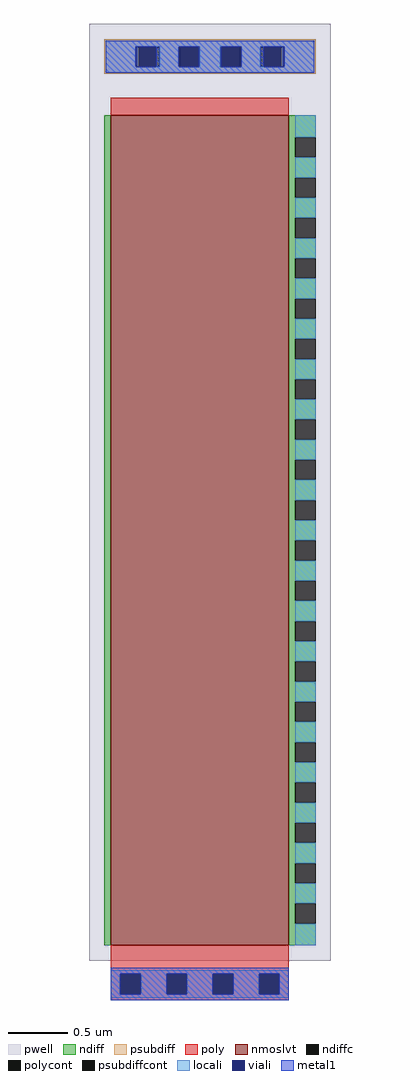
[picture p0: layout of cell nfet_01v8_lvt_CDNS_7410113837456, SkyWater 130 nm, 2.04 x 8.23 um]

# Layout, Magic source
magic
tech sky130A
magscale 1 2
<< pwell >>
rect -37 -26 371 1554
<< nmoslvt >>
rect 0 0 300 1400
<< ndiff >>
rect -11 0 0 1400
rect 300 1363 345 1400
rect 300 1329 311 1363
rect 300 1295 345 1329
rect 300 1261 311 1295
rect 300 1227 345 1261
rect 300 1193 311 1227
rect 300 1159 345 1193
rect 300 1125 311 1159
rect 300 1091 345 1125
rect 300 1057 311 1091
rect 300 1023 345 1057
rect 300 989 311 1023
rect 300 955 345 989
rect 300 921 311 955
rect 300 887 345 921
rect 300 853 311 887
rect 300 819 345 853
rect 300 785 311 819
rect 300 751 345 785
rect 300 717 311 751
rect 300 683 345 717
rect 300 649 311 683
rect 300 615 345 649
rect 300 581 311 615
rect 300 547 345 581
rect 300 513 311 547
rect 300 479 345 513
rect 300 445 311 479
rect 300 411 345 445
rect 300 377 311 411
rect 300 343 345 377
rect 300 309 311 343
rect 300 275 345 309
rect 300 241 311 275
rect 300 207 345 241
rect 300 173 311 207
rect 300 139 345 173
rect 300 105 311 139
rect 300 71 345 105
rect 300 37 311 71
rect 300 0 345 37
<< ndiffc >>
rect 311 1329 345 1363
rect 311 1261 345 1295
rect 311 1193 345 1227
rect 311 1125 345 1159
rect 311 1057 345 1091
rect 311 989 345 1023
rect 311 921 345 955
rect 311 853 345 887
rect 311 785 345 819
rect 311 717 345 751
rect 311 649 345 683
rect 311 581 345 615
rect 311 513 345 547
rect 311 445 345 479
rect 311 377 345 411
rect 311 309 345 343
rect 311 241 345 275
rect 311 173 345 207
rect 311 105 345 139
rect 311 37 345 71
<< psubdiff >>
rect -11 1516 345 1528
rect -11 1482 48 1516
rect 82 1482 116 1516
rect 150 1482 184 1516
rect 218 1482 252 1516
rect 286 1482 345 1516
rect -11 1470 345 1482
<< psubdiffcont >>
rect 48 1482 82 1516
rect 116 1482 150 1516
rect 184 1482 218 1516
rect 252 1482 286 1516
<< poly >>
rect 0 1400 300 1430
rect 0 -48 300 0
rect 0 -82 16 -48
rect 50 -82 94 -48
rect 128 -82 172 -48
rect 206 -82 250 -48
rect 284 -82 300 -48
rect 0 -92 300 -82
<< polycont >>
rect 16 -82 50 -48
rect 94 -82 128 -48
rect 172 -82 206 -48
rect 250 -82 284 -48
<< locali >>
rect -9 1516 343 1526
rect -9 1482 42 1516
rect 82 1482 114 1516
rect 150 1482 184 1516
rect 220 1482 252 1516
rect 292 1482 343 1516
rect -9 1472 343 1482
rect 311 1363 345 1400
rect 311 1295 345 1329
rect 311 1227 345 1261
rect 311 1159 345 1193
rect 311 1091 345 1125
rect 311 1023 345 1057
rect 311 955 345 989
rect 311 887 345 921
rect 311 819 345 853
rect 311 751 345 785
rect 311 683 345 717
rect 311 615 345 649
rect 311 547 345 581
rect 311 479 345 513
rect 311 411 345 445
rect 311 343 345 377
rect 311 275 345 309
rect 311 207 345 241
rect 311 139 345 173
rect 311 71 345 105
rect 311 0 345 37
rect 0 -48 300 -42
rect 0 -82 16 -48
rect 50 -82 94 -48
rect 128 -82 172 -48
rect 206 -82 250 -48
rect 284 -82 300 -48
rect 0 -88 300 -82
<< viali >>
rect 42 1482 48 1516
rect 48 1482 76 1516
rect 114 1482 116 1516
rect 116 1482 148 1516
rect 186 1482 218 1516
rect 218 1482 220 1516
rect 258 1482 286 1516
rect 286 1482 292 1516
rect 16 -82 50 -48
rect 94 -82 128 -48
rect 172 -82 206 -48
rect 250 -82 284 -48
<< metal1 >>
rect -9 1516 343 1526
rect -9 1482 42 1516
rect 76 1482 114 1516
rect 148 1482 186 1516
rect 220 1482 258 1516
rect 292 1482 343 1516
rect -9 1472 343 1482
rect 0 -48 300 -38
rect 0 -82 16 -48
rect 50 -82 94 -48
rect 128 -82 172 -48
rect 206 -82 250 -48
rect 284 -82 300 -48
rect 0 -92 300 -82
<< end >>
